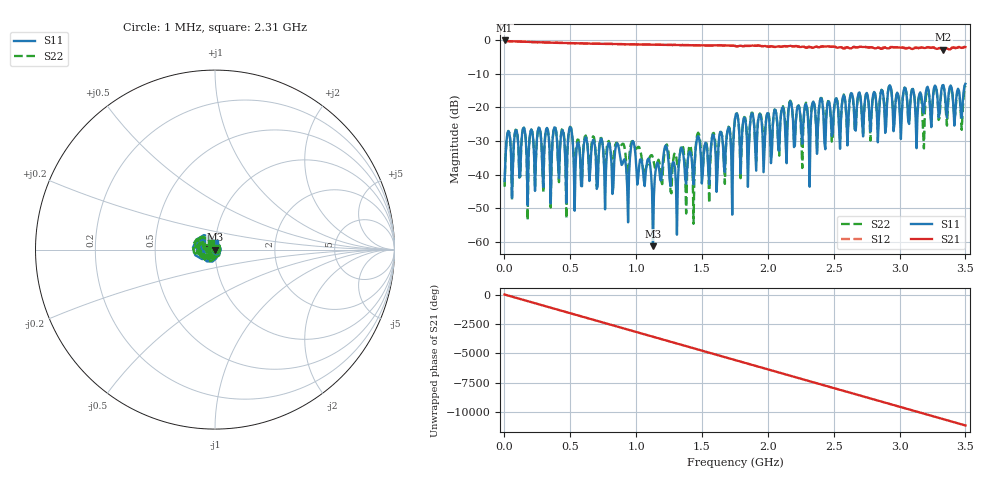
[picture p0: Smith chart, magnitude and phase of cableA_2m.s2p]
# GHZ S RI R 50.000000000000
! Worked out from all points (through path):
!   501 points, 1 MHz to 3.5 GHz, reference 50 ohm
!   highest |S21| = -0.05 dB at 1 MHz (marker M1); lowest = -2.8 dB at 3.332 GHz (marker M2)
!   group delay of S21, straight-line fit = 8.81 ns
!   lowest |S11| = -61.3 dB at 1.128 GHz (marker M3), VSWR 1.00, Z = 50 - j0.0795 ohm
!   |S11| at or under -10 dB: start of sweep to end of sweep
!   |S22| runs from -54.6 to -13.4 dB; largest |S21 - S12| = 0.029
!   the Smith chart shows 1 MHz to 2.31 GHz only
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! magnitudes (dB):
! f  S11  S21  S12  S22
! 1 MHz  -41.9  0.0  -0.1  -43.6
! 28.99 MHz  -27.0  -0.2  -0.3  -27.0
! 56.98 MHz  -46.9  -0.3  -0.3  -47.4
! 148 MHz  -26.0  -0.5  -0.5  -26.0
! 175.9 MHz  -49.1  -0.5  -0.5  -53.6
! 378.9 MHz  -25.9  -0.7  -0.7  -25.8
! 469.9 MHz  -48.4  -0.8  -0.8  -53.1
! 497.9 MHz  -25.8  -0.9  -0.9  -25.8
! 588.8 MHz  -43.5  -0.9  -0.9  -41.5
! 854.8 MHz  -30.7  -1.1  -1.1  -30.5
! 931.7 MHz  -43.6  -1.2  -1.2  -41.9
! 973.7 MHz  -30.0  -1.2  -1.2  -30.1
! 1.128 GHz  -61.3  -1.3  -1.3  -35.0
! 1.17 GHz  -37.1  -1.3  -1.3  -35.5
! 1.73 GHz  -51.9  -1.6  -1.6  -38.6
! 1.75 GHz  -23.4  -1.7  -1.7  -23.4
! 2.317 GHz  -43.6  -2.0  -1.9  -29.9
! 2.338 GHz  -18.7  -2.2  -2.2  -18.5
! 2.919 GHz  -13.8  -2.4  -2.2  -13.8
! 3.185 GHz  -21.6  -2.3  -2.2  -32.2
! 3.332 GHz  -13.3  -2.8  -2.6  -13.5
! 3.5 GHz  -13.0  -2.0  -2.1  -13.5
